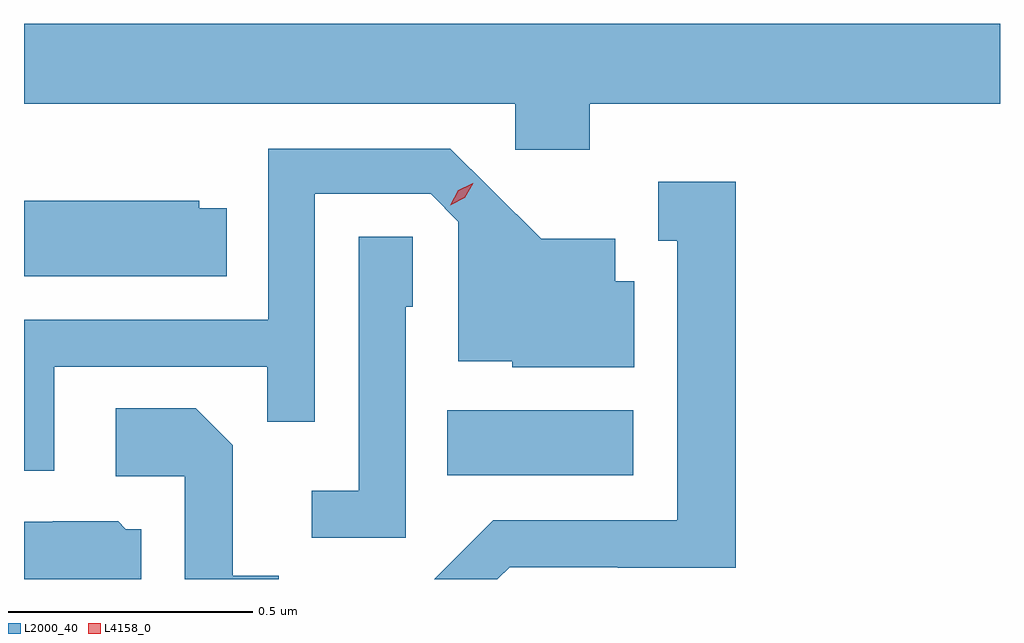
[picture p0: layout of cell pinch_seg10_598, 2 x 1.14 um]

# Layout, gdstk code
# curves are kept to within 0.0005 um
import gdstk
lib = gdstk.Library(unit=1e-6, precision=1e-09)
def R(c, l, rs):  # rectangles x0, y0, x1, y1
    for r in rs: c.add(gdstk.rectangle(r[:2], r[2:], *l))
def P(c, l, *ps):  # polygons
    for p in ps: c.add(gdstk.Polygon(p, *l))
L2000_40 = (2000, 40)
L4158_0 = (4158, 0)

pinch_seg10_598 = lib.new_cell('pinch_seg10_598')
R(pinch_seg10_598, L2000_40, [(316.966,1256.93,317.347,1257.064)])
P(pinch_seg10_598, L2000_40, [(317.258,1257.692),(318.099,1257.692),(318.099,1257.856),(316.099,1257.856),(316.099,1257.692),(317.106,1257.692),(317.106,1257.597),(317.258,1257.597)],
  [(316.161,1257.153),(316.597,1257.153),(316.597,1257.04),(316.695,1257.04),(316.695,1257.507),(316.932,1257.507),(316.989,1257.45),(316.989,1257.164),(317.1,1257.164),(317.1,1257.152),(317.35,1257.152),(317.35,1257.328),(317.311,1257.328),(317.311,1257.415),(317.159,1257.415),(316.972,1257.6),(316.599,1257.6),(316.599,1257.249),(316.099,1257.249),(316.099,1256.94),(316.161,1256.94)],
  [(317.094,1256.742),(317.316,1256.742),(317.316,1256.741),(317.557,1256.741),(317.557,1257.532),(317.399,1257.532),(317.399,1257.411),(317.438,1257.411),(317.438,1256.838),(317.061,1256.838),(316.94,1256.717),(317.069,1256.717)],
  [(316.514,1257.478),(316.458,1257.478),(316.458,1257.493),(316.099,1257.493),(316.099,1257.338),(316.514,1257.338)],
  [(316.881,1257.276),(316.896,1257.276),(316.896,1257.419),(316.785,1257.419),(316.785,1256.899),(316.689,1256.899),(316.689,1256.802),(316.881,1256.802)],
  [(316.621,1256.725),(316.527,1256.725),(316.527,1256.992),(316.451,1257.068),(316.287,1257.068),(316.287,1256.928),(316.428,1256.928),(316.428,1256.717),(316.621,1256.717)],
  [(316.339,1256.82),(316.308,1256.82),(316.292,1256.836),(316.158,1256.836),(316.158,1256.835),(316.099,1256.835),(316.099,1256.717),(316.339,1256.717)])
P(pinch_seg10_598, L4158_0, [(316.972,1257.484),(316.972,1257.484),(316.989,1257.514),(317.019,1257.529),(317.02,1257.529),(317.02,1257.529),(317.002,1257.499),(316.972,1257.484)])

lib.write_gds('pinch_seg10_598.gds')
